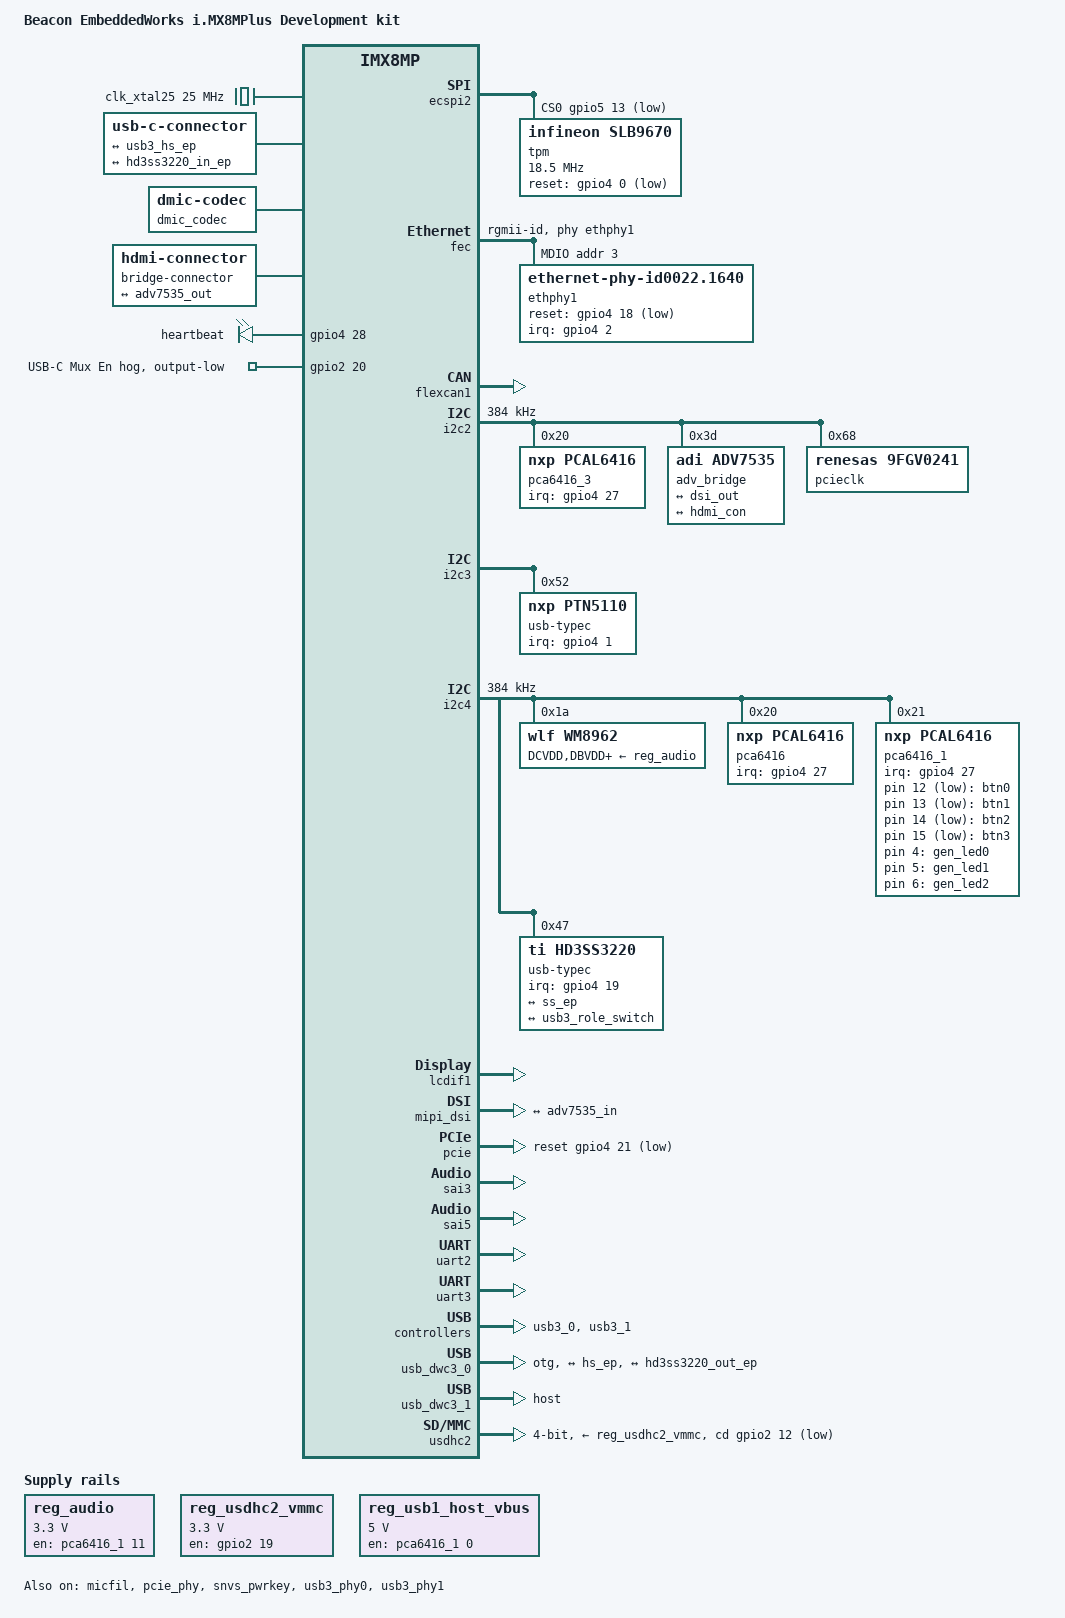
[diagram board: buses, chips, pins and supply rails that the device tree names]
// SPDX-License-Identifier: (GPL-2.0+ OR MIT)
/*
 * Copyright 2023 Logic PD, Inc dba Beacon EmbeddedWorks
 */

/dts-v1/;

#include <dt-bindings/usb/pd.h>
#include <dt-bindings/phy/phy-imx8-pcie.h>
#include "imx8mp.dtsi"
#include "imx8mp-beacon-som.dtsi"

/ {
	model = "Beacon EmbeddedWorks i.MX8MPlus Development kit";
	compatible = "beacon,imx8mp-beacon-kit", "fsl,imx8mp";

	aliases {
		ethernet0 = &eqos;
		ethernet1 = &fec;
	};

	chosen {
		stdout-path = &uart2;
	};

	clk_xtal25: clock-xtal25 {
		compatible = "fixed-clock";
		#clock-cells = <0>;
		clock-frequency = <25000000>;
	};

	connector {
		compatible = "usb-c-connector";
		label = "USB-C";
		data-role = "dual";

		ports {
			#address-cells = <1>;
			#size-cells = <0>;

			port@0 {
				reg = <0>;

				hs_ep: endpoint {
					remote-endpoint = <&usb3_hs_ep>;
				};
			};
			port@1 {
				reg = <1>;

				ss_ep: endpoint {
					remote-endpoint = <&hd3ss3220_in_ep>;
				};
			};
		};
	};

	dmic_codec: dmic-codec {
		compatible = "dmic-codec";
		num-channels = <1>;
		#sound-dai-cells = <0>;
	};

	gpio-keys {
		compatible = "gpio-keys";
		autorepeat;

		button-0 {
			label = "btn0";
			linux,code = <BTN_0>;
			gpios = <&pca6416_1 12 (GPIO_ACTIVE_LOW | GPIO_PULL_UP)>;
			wakeup-source;
		};

		button-1 {
			label = "btn1";
			linux,code = <BTN_1>;
			gpios = <&pca6416_1 13 (GPIO_ACTIVE_LOW | GPIO_PULL_UP)>;
			wakeup-source;
		};

		button-2 {
			label = "btn2";
			linux,code = <BTN_2>;
			gpios = <&pca6416_1 14 (GPIO_ACTIVE_LOW | GPIO_PULL_UP)>;
			wakeup-source;
		};

		button-3 {
			label = "btn3";
			linux,code = <BTN_3>;
			gpios = <&pca6416_1 15 (GPIO_ACTIVE_LOW | GPIO_PULL_UP)>;
			wakeup-source;
		};
	};

	bridge-connector {
		compatible = "hdmi-connector";
		type = "a";

		port {
			hdmi_con: endpoint {
				remote-endpoint = <&adv7535_out>;
			};
		};
	};

	leds {
		compatible = "gpio-leds";
		pinctrl-names = "default";
		pinctrl-0 = <&pinctrl_led3>;

		led-0 {
			label = "gen_led0";
			gpios = <&pca6416_1 4 GPIO_ACTIVE_HIGH>;
			default-state = "off";
		};

		led-1 {
			label = "gen_led1";
			gpios = <&pca6416_1 5 GPIO_ACTIVE_HIGH>;
			default-state = "off";
		};

		led-2 {
			label = "gen_led2";
			gpios = <&pca6416_1 6 GPIO_ACTIVE_HIGH>;
			default-state = "off";
		};

		led-3 {
			label = "heartbeat";
			gpios = <&gpio4 28 GPIO_ACTIVE_HIGH>;
			linux,default-trigger = "heartbeat";
		};
	};

	reg_audio: regulator-wm8962 {
		compatible = "regulator-fixed";
		regulator-name = "3v3_aud";
		regulator-min-microvolt = <3300000>;
		regulator-max-microvolt = <3300000>;
		gpio = <&pca6416_1 11 GPIO_ACTIVE_HIGH>;
		enable-active-high;
	};

	reg_usdhc2_vmmc: regulator-usdhc2 {
		compatible = "regulator-fixed";
		regulator-name = "VSD_3V3";
		regulator-min-microvolt = <3300000>;
		regulator-max-microvolt = <3300000>;
		gpio = <&gpio2 19 GPIO_ACTIVE_HIGH>;
		enable-active-high;
		startup-delay-us = <100>;
		off-on-delay-us = <20000>;
	};

	reg_usb1_host_vbus: regulator-usb1-vbus {
		compatible = "regulator-fixed";
		regulator-name = "usb1_host_vbus";
		regulator-max-microvolt = <5000000>;
		regulator-min-microvolt = <5000000>;
		gpio = <&pca6416_1 0 GPIO_ACTIVE_HIGH>;
		enable-active-high;
	};

	sound-adv7535 {
		compatible = "simple-audio-card";
		simple-audio-card,name = "sound-adv7535";
		simple-audio-card,format = "i2s";

		simple-audio-card,cpu {
			sound-dai = <&sai5>;
			system-clock-direction-out;
		};

		simple-audio-card,codec {
			sound-dai = <&adv_bridge>;
		};
	};

	sound-dmic {
		compatible = "simple-audio-card";
		simple-audio-card,name = "sound-pdm";
		simple-audio-card,format = "i2s";
		simple-audio-card,bitclock-master = <&dailink_master>;
		simple-audio-card,frame-master = <&dailink_master>;

		dailink_master: simple-audio-card,cpu {
			sound-dai = <&micfil>;
		};

		simple-audio-card,codec {
			sound-dai = <&dmic_codec>;
		};
	};

	sound-wm8962 {
		compatible = "simple-audio-card";
		simple-audio-card,name = "wm8962";
		simple-audio-card,format = "i2s";
		simple-audio-card,widgets = "Headphone", "Headphones",
					    "Microphone", "Headset Mic",
					    "Speaker", "Speaker";
		simple-audio-card,routing = "Headphones", "HPOUTL",
					    "Headphones", "HPOUTR",
					    "Speaker", "SPKOUTL",
					    "Speaker", "SPKOUTR",
					    "Headset Mic", "MICBIAS",
					    "IN3R", "Headset Mic";

		simple-audio-card,cpu {
			sound-dai = <&sai3>;
		};

		simple-audio-card,codec {
			sound-dai = <&wm8962>;
			clocks = <&clk IMX8MP_CLK_IPP_DO_CLKO1>;
			frame-master;
			bitclock-master;
		};
	};
};

&audio_blk_ctrl {
	assigned-clocks = <&clk IMX8MP_AUDIO_PLL1>, <&clk IMX8MP_AUDIO_PLL2>;
	assigned-clock-rates = <393216000>, <135475200>;
};

&ecspi2 {
	pinctrl-names = "default";
	pinctrl-0 = <&pinctrl_ecspi2>;
	cs-gpios = <&gpio5 13 GPIO_ACTIVE_LOW>;
	status = "okay";

	tpm: tpm@0 {
		compatible = "infineon,slb9670", "tcg,tpm_tis-spi";
		reg = <0>;
		pinctrl-names = "default";
		pinctrl-0 = <&pinctrl_tpm>;
		reset-gpios = <&gpio4 0 GPIO_ACTIVE_LOW>;
		spi-max-frequency = <18500000>;
	};
};

&fec {
	pinctrl-names = "default";
	pinctrl-0 = <&pinctrl_fec>;
	phy-mode = "rgmii-id";
	phy-handle = <&ethphy1>;
	fsl,magic-packet;
	status = "okay";

	mdio {
		#address-cells = <1>;
		#size-cells = <0>;

		ethphy1: ethernet-phy@3 {
			compatible = "ethernet-phy-id0022.1640",
				     "ethernet-phy-ieee802.3-c22";
			reg = <3>;
			reset-gpios = <&gpio4 18 GPIO_ACTIVE_LOW>;
			reset-assert-us = <10000>;
			reset-deassert-us = <150000>;
			interrupt-parent = <&gpio4>;
			interrupts = <2 IRQ_TYPE_LEVEL_LOW>;
		};
	};
};

&flexcan1 {
	pinctrl-names = "default";
	pinctrl-0 = <&pinctrl_flexcan1>;
	status = "okay";
};

&gpio2 {
	usb-mux-hog {
		gpio-hog;
		gpios = <20 0>;
		output-low;
		line-name = "USB-C Mux En";
	};
};

&i2c2 {
	clock-frequency = <384000>;
	pinctrl-names = "default";
	pinctrl-0 = <&pinctrl_i2c2>;
	status = "okay";

	pca6416_3: gpio@20 {
		compatible = "nxp,pcal6416";
		reg = <0x20>;
		gpio-controller;
		#gpio-cells = <2>;
		interrupt-parent = <&gpio4>;
		interrupts = <27 IRQ_TYPE_EDGE_FALLING>;
		interrupt-controller;
		#interrupt-cells = <2>;
	};

	adv_bridge: hdmi@3d {
		compatible = "adi,adv7535";
		reg = <0x3d>, <0x3c>, <0x3e>, <0x3f>;
		reg-names = "main", "cec", "edid", "packet";
		adi,dsi-lanes = <4>;
		#sound-dai-cells = <0>;

		ports {
			#address-cells = <1>;
			#size-cells = <0>;

			port@0 {
				reg = <0>;

				adv7535_in: endpoint {
					remote-endpoint = <&dsi_out>;
				};
			};

			port@1 {
				reg = <1>;

				adv7535_out: endpoint {
					remote-endpoint = <&hdmi_con>;
				};
			};
		};
	};

	pcieclk: clock-generator@68 {
		compatible = "renesas,9fgv0241";
		reg = <0x68>;
		clocks = <&clk_xtal25>;
		#clock-cells = <1>;
	};
};

&i2c3 {
	/* Connected to USB Hub */
	usb-typec@52 {
		compatible = "nxp,ptn5110";
		reg = <0x52>;
		pinctrl-names = "default";
		pinctrl-0 = <&pinctrl_typec>;
		interrupt-parent = <&gpio4>;
		interrupts = <1 IRQ_TYPE_LEVEL_LOW>;

		connector {
			compatible = "usb-c-connector";
			label = "USB-C";
			power-role = "source";
			data-role = "host";
			source-pdos = <PDO_FIXED(5000, 3000, PDO_FIXED_USB_COMM)>;
		};
	};
};

&i2c4 {
	pinctrl-names = "default";
	pinctrl-0 = <&pinctrl_i2c4>;
	clock-frequency = <384000>;
	status = "okay";

	wm8962: audio-codec@1a {
		compatible = "wlf,wm8962";
		reg = <0x1a>;
		pinctrl-names = "default";
		pinctrl-0 = <&pinctrl_wm8962>;
		clocks = <&clk IMX8MP_CLK_IPP_DO_CLKO1>;
		assigned-clocks = <&clk IMX8MP_CLK_IPP_DO_CLKO1>;
		assigned-clock-parents = <&clk IMX8MP_AUDIO_PLL2_OUT>;
		assigned-clock-rates = <22576000>;
		DCVDD-supply = <&reg_audio>;
		DBVDD-supply = <&reg_audio>;
		AVDD-supply = <&reg_audio>;
		CPVDD-supply = <&reg_audio>;
		MICVDD-supply = <&reg_audio>;
		PLLVDD-supply = <&reg_audio>;
		SPKVDD1-supply = <&reg_audio>;
		SPKVDD2-supply = <&reg_audio>;
		gpio-cfg = <
			0x0000 /* 0:Default */
			0x0000 /* 1:Default */
			0x0000 /* 2:FN_DMICCLK */
			0x0000 /* 3:Default */
			0x0000 /* 4:FN_DMICCDAT */
			0x0000 /* 5:Default */
		>;
		#sound-dai-cells = <0>;
	};

	pca6416: gpio@20 {
		compatible = "nxp,pcal6416";
		reg = <0x20>;
		pinctrl-names = "default";
		pinctrl-0 = <&pinctrl_pcal6414>;
		gpio-controller;
		#gpio-cells = <2>;
		interrupt-parent = <&gpio4>;
		interrupts = <27 IRQ_TYPE_EDGE_FALLING>;
		interrupt-controller;
		#interrupt-cells = <2>;
	};

	pca6416_1: gpio@21 {
		compatible = "nxp,pcal6416";
		reg = <0x21>;
		gpio-controller;
		#gpio-cells = <2>;
		interrupt-parent = <&gpio4>;
		interrupts = <27 IRQ_TYPE_EDGE_FALLING>;
		interrupt-controller;
		#interrupt-cells = <2>;

		usb-hub-hog {
			gpio-hog;
			gpios = <7 0>;
			output-low;
			line-name = "USB Hub Enable";
		};
	};

	usb-typec@47 {
		compatible = "ti,hd3ss3220";
		reg = <0x47>;
		pinctrl-names = "default";
		pinctrl-0 = <&pinctrl_hd3ss3220>;
		interrupt-parent = <&gpio4>;
		interrupts = <19 IRQ_TYPE_LEVEL_LOW>;

		ports {
			#address-cells = <1>;
			#size-cells = <0>;

			port@0 {
				reg = <0>;

				hd3ss3220_in_ep: endpoint {
					remote-endpoint = <&ss_ep>;
				};
			};

			port@1 {
				reg = <1>;

				hd3ss3220_out_ep: endpoint {
					remote-endpoint = <&usb3_role_switch>;
				};
			};
		};
	};
};

&lcdif1 {
	status = "okay";
};

&micfil {
	pinctrl-names = "default";
	pinctrl-0 = <&pinctrl_pdm>;
	assigned-clocks = <&clk IMX8MP_CLK_PDM>;
	assigned-clock-parents = <&clk IMX8MP_AUDIO_PLL1_OUT>;
	assigned-clock-rates = <49152000>;
	status = "okay";
};

&mipi_dsi {
	samsung,esc-clock-frequency = <10000000>;
	status = "okay";

	ports {
		port@1 {
			reg = <1>;

			dsi_out: endpoint {
				remote-endpoint = <&adv7535_in>;
			};
		};
	};
};

&pcie {
	pinctrl-names = "default";
	pinctrl-0 = <&pinctrl_pcie>;
	reset-gpio = <&gpio4 21 GPIO_ACTIVE_LOW>;
	status = "okay";
};

&pcie_phy {
	fsl,clkreq-unsupported;
	fsl,refclk-pad-mode = <IMX8_PCIE_REFCLK_PAD_INPUT>;
	clocks = <&pcieclk 1>;
	clock-names = "ref";
	status = "okay";
};

&sai3 {
	pinctrl-names = "default";
	pinctrl-0 = <&pinctrl_sai3>;
	assigned-clocks = <&clk IMX8MP_CLK_SAI3>,
			  <&clk IMX8MP_AUDIO_PLL2> ;
	assigned-clock-parents = <&clk IMX8MP_AUDIO_PLL2_OUT>;
	assigned-clock-rates = <12288000>, <361267200>;
	fsl,sai-mclk-direction-output;
	status = "okay";
};

&sai5 {
	pinctrl-names = "default";
	pinctrl-0 = <&pinctrl_sai5>;
	assigned-clocks = <&clk IMX8MP_CLK_SAI5>;
	assigned-clock-parents = <&clk IMX8MP_AUDIO_PLL1_OUT>;
	assigned-clock-rates = <12288000>;
	fsl,sai-mclk-direction-output;
	status = "okay";
};

&snvs_pwrkey {
	status = "okay";
};

&uart2 {
	pinctrl-names = "default";
	pinctrl-0 = <&pinctrl_uart2>;
	status = "okay";
};

&uart3 {
	pinctrl-names = "default";
	pinctrl-0 = <&pinctrl_uart3>;
	assigned-clocks = <&clk IMX8MP_CLK_UART3>;
	assigned-clock-parents = <&clk IMX8MP_SYS_PLL1_80M>;
	uart-has-rtscts;
	status = "okay";
};

&usb3_0 {
	status = "okay";
};

&usb_dwc3_0 {
	dr_mode = "otg";
	hnp-disable;
	srp-disable;
	adp-disable;
	usb-role-switch;
	status = "okay";

	ports {
		#address-cells = <1>;
		#size-cells = <0>;

		port@0 {
			reg = <0>;
			usb3_hs_ep: endpoint {
				remote-endpoint = <&hs_ep>;
			};
		};
		port@1 {
			reg = <1>;
			usb3_role_switch: endpoint {
				remote-endpoint = <&hd3ss3220_out_ep>;
			};
		};
	};
};

&usb3_phy0 {
	vbus-supply = <&reg_usb1_host_vbus>;
	status = "okay";
};

&usb3_1 {
	status = "okay";
};

&usb_dwc3_1 {
	dr_mode = "host";
	status = "okay";
};

&usb3_phy1 {
	status = "okay";
};

&usdhc2 {
	pinctrl-names = "default", "state_100mhz", "state_200mhz";
	pinctrl-0 = <&pinctrl_usdhc2>, <&pinctrl_usdhc2_gpio>;
	pinctrl-1 = <&pinctrl_usdhc2_100mhz>, <&pinctrl_usdhc2_gpio>;
	pinctrl-2 = <&pinctrl_usdhc2_200mhz>, <&pinctrl_usdhc2_gpio>;
	cd-gpios = <&gpio2 12 GPIO_ACTIVE_LOW>;
	vmmc-supply = <&reg_usdhc2_vmmc>;
	bus-width = <4>;
	status = "okay";
};

&iomuxc {
	pinctrl_ecspi2: ecspi2grp {
		fsl,pins = <
			MX8MP_IOMUXC_ECSPI2_SCLK__ECSPI2_SCLK	0x82
			MX8MP_IOMUXC_ECSPI2_MOSI__ECSPI2_MOSI	0x82
			MX8MP_IOMUXC_ECSPI2_MISO__ECSPI2_MISO	0x82
			MX8MP_IOMUXC_ECSPI2_SS0__GPIO5_IO13	0x40000
		>;
	};

	pinctrl_fec: fecgrp {
		fsl,pins = <
			MX8MP_IOMUXC_SAI1_RXD2__ENET1_MDC	0x2
			MX8MP_IOMUXC_SAI1_RXD3__ENET1_MDIO	0x2
			MX8MP_IOMUXC_SAI1_RXD4__ENET1_RGMII_RD0	0x90
			MX8MP_IOMUXC_SAI1_RXD5__ENET1_RGMII_RD1	0x90
			MX8MP_IOMUXC_SAI1_RXD6__ENET1_RGMII_RD2	0x90
			MX8MP_IOMUXC_SAI1_RXD7__ENET1_RGMII_RD3	0x90
			MX8MP_IOMUXC_SAI1_TXC__ENET1_RGMII_RXC	0x90
			MX8MP_IOMUXC_SAI1_TXFS__ENET1_RGMII_RX_CTL	0x90
			MX8MP_IOMUXC_SAI1_TXD0__ENET1_RGMII_TD0	0x16
			MX8MP_IOMUXC_SAI1_TXD1__ENET1_RGMII_TD1	0x16
			MX8MP_IOMUXC_SAI1_TXD2__ENET1_RGMII_TD2	0x16
			MX8MP_IOMUXC_SAI1_TXD3__ENET1_RGMII_TD3	0x16
			MX8MP_IOMUXC_SAI1_TXD4__ENET1_RGMII_TX_CTL	0x16
			MX8MP_IOMUXC_SAI1_TXD5__ENET1_RGMII_TXC	0x16
			MX8MP_IOMUXC_SAI1_RXD0__GPIO4_IO02	0x140
			MX8MP_IOMUXC_SAI1_TXD6__GPIO4_IO18	0x10
		>;
	};

	pinctrl_flexcan1: flexcan1grp {
		fsl,pins = <
			MX8MP_IOMUXC_SPDIF_RX__CAN1_RX	0x154
			MX8MP_IOMUXC_SPDIF_TX__CAN1_TX	0x154
		>;
	};

	pinctrl_hd3ss3220: hd3ss3220grp {
		fsl,pins = <
			MX8MP_IOMUXC_SAI1_TXD7__GPIO4_IO19	0x140
		>;
	};

	pinctrl_i2c2: i2c2grp {
		fsl,pins = <
			MX8MP_IOMUXC_I2C2_SCL__I2C2_SCL	0x400001c2
			MX8MP_IOMUXC_I2C2_SDA__I2C2_SDA	0x400001c2
		>;
	};

	pinctrl_i2c4: i2c4grp {
		fsl,pins = <
			MX8MP_IOMUXC_I2C4_SCL__I2C4_SCL	0x400001c2
			MX8MP_IOMUXC_I2C4_SDA__I2C4_SDA	0x400001c2
		>;
	};

	pinctrl_led3: led3grp {
		fsl,pins = <
			MX8MP_IOMUXC_SAI3_RXFS__GPIO4_IO28	0x41
		>;
	};

	pinctrl_pcal6414: pcal6414-gpiogrp {
		fsl,pins = <
			MX8MP_IOMUXC_SAI2_MCLK__GPIO4_IO27	0x10
		>;
	};

	pinctrl_pcie: pciegrp {
		fsl,pins = <
			MX8MP_IOMUXC_GPIO1_IO05__GPIO1_IO05	0x10 /* PCIe_nDIS */
			MX8MP_IOMUXC_SAI2_RXFS__GPIO4_IO21 0x10	/* PCIe_nRST */
		>;
	};

	pinctrl_pdm: pdmgrp {
		fsl,pins = <
			MX8MP_IOMUXC_SAI5_RXC__AUDIOMIX_PDM_CLK		0xd6
			MX8MP_IOMUXC_SAI5_RXD0__AUDIOMIX_PDM_BIT_STREAM00	0xd6
		>;
	};

	pinctrl_reg_usdhc2_vmmc: regusdhc2vmmcgrp {
		fsl,pins = <
			MX8MP_IOMUXC_SD2_RESET_B__GPIO2_IO19	0x40
		>;
	};

	pinctrl_sai3: sai3grp {
		fsl,pins = <
			MX8MP_IOMUXC_SAI3_TXFS__AUDIOMIX_SAI3_TX_SYNC	0xd6
			MX8MP_IOMUXC_SAI3_TXC__AUDIOMIX_SAI3_TX_BCLK	0xd6
			MX8MP_IOMUXC_SAI3_RXD__AUDIOMIX_SAI3_RX_DATA00	0xd6
			MX8MP_IOMUXC_SAI3_TXD__AUDIOMIX_SAI3_TX_DATA00	0xd6
			MX8MP_IOMUXC_SAI3_MCLK__AUDIOMIX_SAI3_MCLK	0xd6
		>;
	};

	pinctrl_sai5: sai5grp {
		fsl,pins = <
			MX8MP_IOMUXC_SAI5_RXD3__AUDIOMIX_SAI5_TX_DATA00	0xd6
			MX8MP_IOMUXC_SAI5_RXD2__AUDIOMIX_SAI5_TX_BCLK	0xd6
			MX8MP_IOMUXC_SAI5_RXD1__AUDIOMIX_SAI5_TX_SYNC	0xd6
		>;
	};

	pinctrl_tpm: tpmgrp {
		fsl,pins = <
			MX8MP_IOMUXC_SAI1_RXFS__GPIO4_IO00	0x19 /* Reset */
			MX8MP_IOMUXC_SAI3_RXC__GPIO4_IO29	0x1d6 /* IRQ */
		>;
	};

	pinctrl_typec: typec1grp {
		fsl,pins = <
			MX8MP_IOMUXC_SAI1_RXC__GPIO4_IO01	0xc4
		>;
	};

	pinctrl_uart2: uart2grp {
		fsl,pins = <
			MX8MP_IOMUXC_UART2_RXD__UART2_DCE_RX	0x140
			MX8MP_IOMUXC_UART2_TXD__UART2_DCE_TX	0x140
		>;
	};

	pinctrl_uart3: uart3grp {
		fsl,pins = <
			MX8MP_IOMUXC_ECSPI1_SCLK__UART3_DCE_RX		0x140
			MX8MP_IOMUXC_ECSPI1_MOSI__UART3_DCE_TX		0x140
			MX8MP_IOMUXC_ECSPI1_SS0__UART3_DCE_RTS		0x140
			MX8MP_IOMUXC_ECSPI1_MISO__UART3_DCE_CTS		0x140
		>;
	};

	pinctrl_usdhc2: usdhc2grp {
		fsl,pins = <
			MX8MP_IOMUXC_SD2_CLK__USDHC2_CLK	0x190
			MX8MP_IOMUXC_SD2_CMD__USDHC2_CMD	0x1d0
			MX8MP_IOMUXC_SD2_DATA0__USDHC2_DATA0	0x1d0
			MX8MP_IOMUXC_SD2_DATA1__USDHC2_DATA1	0x1d0
			MX8MP_IOMUXC_SD2_DATA2__USDHC2_DATA2	0x1d0
			MX8MP_IOMUXC_SD2_DATA3__USDHC2_DATA3	0x1d0
			MX8MP_IOMUXC_GPIO1_IO04__USDHC2_VSELECT	0xc0
		>;
	};

	pinctrl_usdhc2_100mhz: usdhc2-100mhzgrp {
		fsl,pins = <
			MX8MP_IOMUXC_SD2_CLK__USDHC2_CLK	0x194
			MX8MP_IOMUXC_SD2_CMD__USDHC2_CMD	0x1d4
			MX8MP_IOMUXC_SD2_DATA0__USDHC2_DATA0	0x1d4
			MX8MP_IOMUXC_SD2_DATA1__USDHC2_DATA1	0x1d4
			MX8MP_IOMUXC_SD2_DATA2__USDHC2_DATA2	0x1d4
			MX8MP_IOMUXC_SD2_DATA3__USDHC2_DATA3	0x1d4
			MX8MP_IOMUXC_GPIO1_IO04__USDHC2_VSELECT 0xc0
		>;
	};

	pinctrl_usdhc2_200mhz: usdhc2-200mhzgrp {
		fsl,pins = <
			MX8MP_IOMUXC_SD2_CLK__USDHC2_CLK	0x196
			MX8MP_IOMUXC_SD2_CMD__USDHC2_CMD	0x1d6
			MX8MP_IOMUXC_SD2_DATA0__USDHC2_DATA0	0x1d6
			MX8MP_IOMUXC_SD2_DATA1__USDHC2_DATA1	0x1d6
			MX8MP_IOMUXC_SD2_DATA2__USDHC2_DATA2	0x1d6
			MX8MP_IOMUXC_SD2_DATA3__USDHC2_DATA3	0x1d6
			MX8MP_IOMUXC_GPIO1_IO04__USDHC2_VSELECT 0xc0
		>;
	};

	pinctrl_usdhc2_gpio: usdhc2gpiogrp {
		fsl,pins = <
			MX8MP_IOMUXC_SD2_CD_B__GPIO2_IO12	0x1c4
		>;
	};

	pinctrl_wm8962: wm8962grp {
		fsl,pins = <
			MX8MP_IOMUXC_GPIO1_IO14__CCM_CLKO1	0x59
		>;
	};
};
